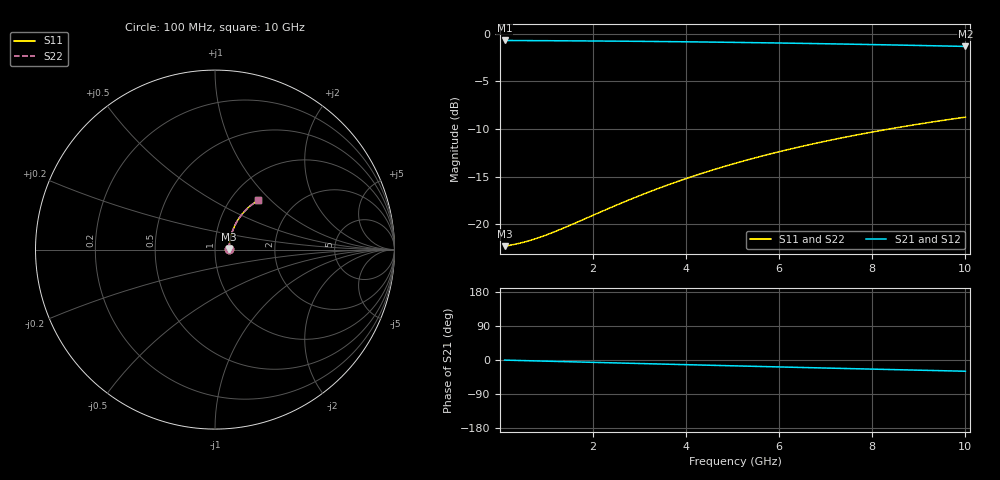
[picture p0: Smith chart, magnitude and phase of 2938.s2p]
# Hz S RI R 50.00
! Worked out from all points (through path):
!   100 points, 100 MHz to 10 GHz, reference 50 ohm
!   highest |S21| = -0.69 dB at 100 MHz (marker M1); lowest = -1.3 dB at 10 GHz (marker M2)
!   group delay of S21, straight-line fit = 8.25 ps
!   lowest |S11| = -22.3 dB at 100 MHz (marker M3), VSWR 1.17, Z = 58.3 + j0.413 ohm
!   |S11| at or under -10 dB: start of sweep to 8.363 GHz
!   |S22| runs from -22.3 to -8.7 dB; largest |S21 - S12| = 0
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1e8  0.0765 0.00352  0.9235 -0.00502  0.9235 -0.00502  0.0765 0.00352
3e8  0.0775 0.0105  0.9225 -0.015  0.9225 -0.015  0.0775 0.0105
5e8  0.0783 0.0175  0.9217 -0.025  0.9217 -0.025  0.0783 0.0175
8e8  0.0796 0.028  0.9203 -0.04  0.9203 -0.04  0.0796 0.028
1e9  0.0806 0.0349  0.9193 -0.0499  0.9193 -0.0499  0.0806 0.0349
1.2e9  0.0817 0.0419  0.9182 -0.0598  0.9182 -0.0598  0.0817 0.0419
1.8e9  0.0857 0.0624  0.9139 -0.0893  0.9139 -0.0893  0.0857 0.0624
2.3e9  0.0899 0.0793  0.9094 -0.1137  0.9094 -0.1137  0.0899 0.0793
2.7e9  0.0939 0.0925  0.9052 -0.1329  0.9052 -0.1329  0.0939 0.0925
3.1e9  0.0984 0.1056  0.9004 -0.152  0.9004 -0.152  0.0984 0.1056
3.4e9  0.1022 0.1152  0.8965 -0.1661  0.8965 -0.1661  0.1022 0.1152
3.8e9  0.1076 0.1278  0.8907 -0.1846  0.8907 -0.1846  0.1076 0.1278
4.2e9  0.1135 0.14  0.8844 -0.2029  0.8844 -0.2029  0.1135 0.14
4.6e9  0.1199 0.152  0.8776 -0.2209  0.8776 -0.2209  0.1199 0.152
5.1e9  0.1285 0.1665  0.8684 -0.2429  0.8684 -0.2429  0.1285 0.1665
5.5e9  0.1359 0.1777  0.8605 -0.2601  0.8605 -0.2601  0.1359 0.1777
5.9e9  0.1437 0.1884  0.8522 -0.2769  0.8522 -0.2769  0.1437 0.1884
6.7e9  0.1604 0.2088  0.8343 -0.3093  0.8343 -0.3093  0.1604 0.2088
7.5e9  0.1784 0.2275  0.8149 -0.3401  0.8149 -0.3401  0.1784 0.2275
8.4e9  0.2001 0.2463  0.7915 -0.3726  0.7915 -0.3726  0.2001 0.2463
9.2e9  0.2204 0.2611  0.7696 -0.3996  0.7696 -0.3996  0.2204 0.2611
1e10  0.2413 0.2741  0.7468 -0.4247  0.7468 -0.4247  0.2413 0.2741
